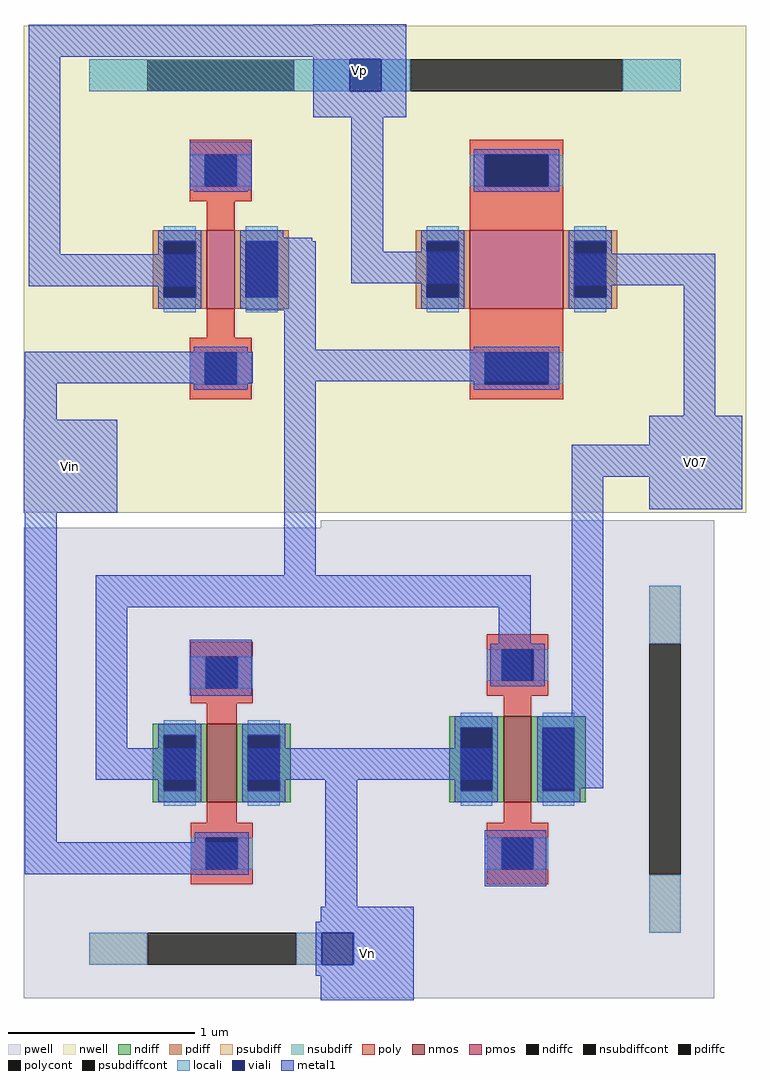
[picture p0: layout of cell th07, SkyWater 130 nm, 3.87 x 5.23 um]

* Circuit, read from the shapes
.subckt th07 Vp Vin V07 Vn
XM1 Vn Vin n1 Vn sky130_fd_pr__nfet_01v8 w=0.42 l=0.16
XM2 V07 n1 Vn Vn sky130_fd_pr__nfet_01v8 w=0.46 l=0.15
XM3 n1 Vin Vp Vp sky130_fd_pr__pfet_01v8 w=0.42 l=0.15
XM4 V07 n1 Vp Vp sky130_fd_pr__pfet_01v8 w=0.42 l=0.5
.ends

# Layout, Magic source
magic
tech sky130A
magscale 1 2
<< pwell >>
rect 430 -778 498 -744
<< nsubdiff >>
rect 401 -40 629 -6
<< locali >>
rect 387 -40 663 -6
rect 697 -40 699 -6
rect 609 -976 633 -942
<< viali >>
rect 663 -40 697 -6
rect 633 -976 667 -942
<< metal1 >>
rect 624 31 724 32
rect 319 -3 724 31
rect 319 -215 353 -3
rect 624 -6 724 -3
rect 624 -40 663 -6
rect 697 -40 724 -6
rect 624 -68 724 -40
rect 492 -146 558 -94
rect 589 -201 623 -197
rect 319 -249 499 -215
rect 553 -235 627 -201
rect 553 -241 587 -235
rect 589 -241 627 -235
rect 553 -275 627 -241
rect 665 -212 699 -68
rect 665 -246 782 -212
rect 904 -248 1055 -214
rect 593 -317 627 -275
rect 315 -353 559 -319
rect 593 -351 875 -317
rect 315 -392 349 -353
rect 314 -492 414 -392
rect 315 -845 349 -492
rect 593 -559 627 -351
rect 1021 -388 1055 -248
rect 984 -419 1084 -388
rect 901 -453 1084 -419
rect 391 -593 857 -559
rect 391 -744 425 -593
rect 492 -688 558 -628
rect 823 -675 857 -593
rect 901 -723 935 -453
rect 984 -488 1084 -453
rect 391 -778 499 -744
rect 554 -778 815 -744
rect 315 -879 555 -845
rect 637 -914 671 -778
rect 871 -787 935 -723
rect 808 -892 874 -832
rect 632 -930 732 -914
rect 627 -942 732 -930
rect 627 -976 633 -942
rect 667 -976 732 -942
rect 627 -988 732 -976
rect 632 -1014 732 -988
use sky130_fd_pr__nfet_01v8_VGVEGU  XM0
transform 1 0 526 0 1 -760
box -212 -252 212 252
use sky130_fd_pr__pfet_01v8_EDPLE3  XM1
transform 1 0 525 0 1 -231
box -211 -261 211 261
use sky130_fd_pr__pfet_01v8_JM8GTH  XM2
transform 1 0 842 0 1 -231
box -246 -261 246 261
use sky130_fd_pr__nfet_01v8_MYA4RC  XM3
transform -1 0 843 0 1 -756
box -211 -256 211 256
<< labels >>
flabel metal1 624 -68 724 32 0 FreeSans 256 0 0 0 Vp
port 0 nsew
flabel metal1 314 -492 414 -392 0 FreeSans 256 0 0 0 Vin
port 1 nsew
flabel metal1 632 -1014 732 -914 0 FreeSans 256 0 0 0 Vn
port 3 nsew
flabel metal1 984 -488 1084 -388 0 FreeSans 256 0 0 0 V07
port 2 nsew
<< end >>

# cell sky130_fd_pr__nfet_01v8_VGVEGU: kit device sky130_fd_pr__nfet_01v8, w 0.42 l 0.155 m 1 nf 1 diffcov 100 polycov 100 guard 1 glc 1 grc 1 gtc 1 gbc 1 tbcov 100 rlcov 100 topc 1 botc 1 poverlap 0 doverlap 1 lmin 0.15 wmin 0.42 compatible {sky130_fd_pr__nfet_01v8 sky130_fd_pr__nfet_01v8_lvt sky130_fd_bs_flash__special_sonosfet_star sky130_fd_pr__nfet_g5v0d10v5 sky130_fd_pr__nfet_05v0_nvt sky130_fd_pr__nfet_03v3_nvt} full_metal 1 viasrc 100 viadrn 100 viagate 100 viagb 0 viagr 0 viagl 0 viagt 0

# cell sky130_fd_pr__pfet_01v8_EDPLE3: kit device sky130_fd_pr__pfet_01v8, w 0.42 l 0.151 m 1 nf 1 diffcov 100 polycov 100 guard 1 glc 1 grc 1 gtc 1 gbc 1 tbcov 100 rlcov 100 topc 1 botc 1 poverlap 0 doverlap 1 lmin 0.15 wmin 0.42 compatible {sky130_fd_pr__pfet_01v8 sky130_fd_pr__pfet_01v8_lvt sky130_fd_pr__pfet_01v8_hvt sky130_fd_pr__pfet_g5v0d10v5} full_metal 1 viasrc 100 viadrn 100 viagate 100 viagb 0 viagr 0 viagl 0 viagt 0

# cell sky130_fd_pr__pfet_01v8_JM8GTH: kit device sky130_fd_pr__pfet_01v8, w 0.42 l 0.5 m 1 nf 1 diffcov 100 polycov 100 guard 1 glc 1 grc 1 gtc 1 gbc 1 tbcov 100 rlcov 100 topc 1 botc 1 poverlap 0 doverlap 1 lmin 0.15 wmin 0.42 compatible {sky130_fd_pr__pfet_01v8 sky130_fd_pr__pfet_01v8_lvt sky130_fd_pr__pfet_01v8_hvt sky130_fd_pr__pfet_g5v0d10v5} full_metal 1 viasrc 100 viadrn 100 viagate 100 viagb 0 viagr 0 viagl 0 viagt 0

# cell sky130_fd_pr__nfet_01v8_MYA4RC: kit device sky130_fd_pr__nfet_01v8, w 0.462 l 0.15 m 1 nf 1 diffcov 100 polycov 100 guard 1 glc 1 grc 1 gtc 1 gbc 1 tbcov 100 rlcov 100 topc 1 botc 1 poverlap 0 doverlap 1 lmin 0.15 wmin 0.42 compatible {sky130_fd_pr__nfet_01v8 sky130_fd_pr__nfet_01v8_lvt sky130_fd_bs_flash__special_sonosfet_star sky130_fd_pr__nfet_g5v0d10v5 sky130_fd_pr__nfet_05v0_nvt sky130_fd_pr__nfet_03v3_nvt} full_metal 1 viasrc 100 viadrn 100 viagate 100 viagb 0 viagr 0 viagl 0 viagt 0
